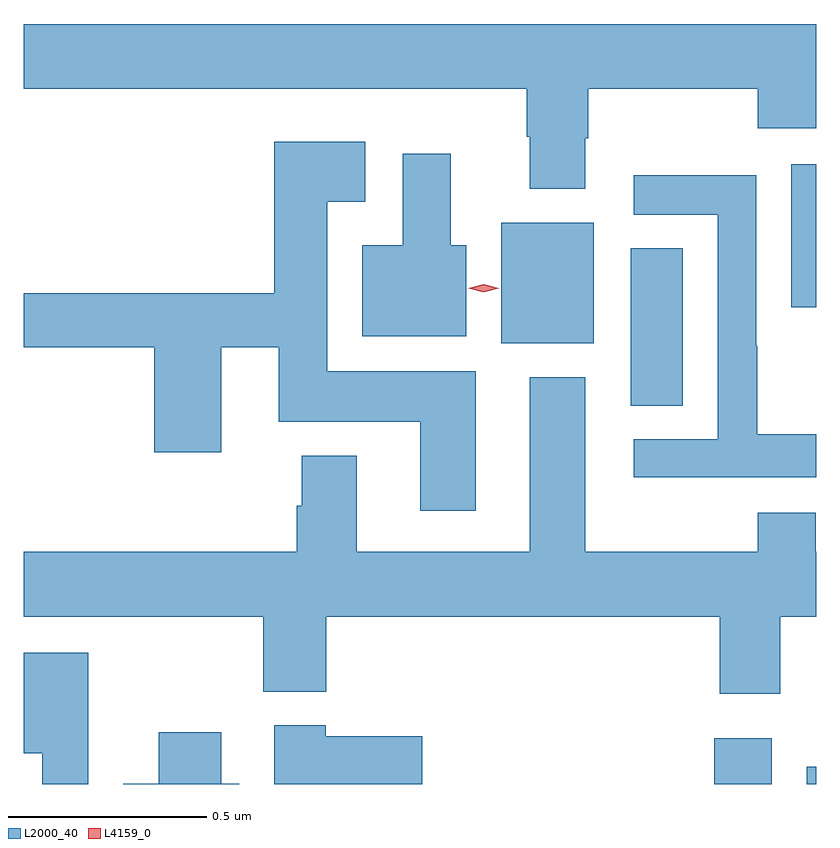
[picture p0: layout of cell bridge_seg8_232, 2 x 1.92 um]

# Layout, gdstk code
import gdstk
lib = gdstk.Library(unit=1e-6, precision=1e-09)
def R(c, l, rs):  # rectangles x0, y0, x1, y1
    for r in rs: c.add(gdstk.rectangle(r[:2], r[2:], *l))
def P(c, l, *ps):  # polygons
    for p in ps: c.add(gdstk.Polygon(p, *l))
L2000_40 = (2000, 40)
L4159_0 = (4159, 0)

bridge_seg8_232 = lib.new_cell('bridge_seg8_232')
R(bridge_seg8_232, L2000_40, [(243.272,1124.07,243.418,1124.185), (243.506,1124.07,243.53,1124.113), (243.062,1125.025,243.193,1125.422), (242.735,1125.182,242.968,1125.487), (243.467,1125.273,243.53,1125.634)])
P(bridge_seg8_232, L2000_40, [(242.947,1125.7),(242.955,1125.7),(242.955,1125.824),(243.382,1125.824),(243.382,1125.725),(243.53,1125.725),(243.53,1125.988),(241.53,1125.988),(241.53,1125.824),(242.8,1125.824),(242.8,1125.704),(242.807,1125.704),(242.807,1125.572),(242.947,1125.572)],
  [(242.671,1125.112),(242.296,1125.112),(242.296,1125.539),(242.392,1125.539),(242.392,1125.691),(242.162,1125.691),(242.162,1125.308),(241.53,1125.308),(241.53,1125.172),(241.859,1125.172),(241.859,1124.907),(242.029,1124.907),(242.029,1125.172),(242.174,1125.172),(242.174,1124.984),(242.531,1124.984),(242.531,1124.76),(242.671,1124.76)],
  [(242.647,1125.43),(242.608,1125.43),(242.608,1125.661),(242.486,1125.661),(242.486,1125.43),(242.384,1125.43),(242.384,1125.2),(242.647,1125.2)],
  [(243.53,1124.953),(243.381,1124.953),(243.381,1125.176),(243.378,1125.176),(243.378,1125.606),(243.069,1125.606),(243.069,1125.507),(243.282,1125.507),(243.282,1124.94),(243.069,1124.94),(243.069,1124.844),(243.53,1124.844)],
  [(243.439,1124.492),(243.53,1124.492),(243.53,1124.656),(243.529,1124.656),(243.529,1124.755),(243.382,1124.755),(243.382,1124.656),(242.947,1124.656),(242.947,1125.097),(242.807,1125.097),(242.807,1124.656),(242.371,1124.656),(242.371,1124.899),(242.231,1124.899),(242.231,1124.772),(242.219,1124.772),(242.219,1124.656),(241.53,1124.656),(241.53,1124.492),(242.134,1124.492),(242.134,1124.303),(242.294,1124.303),(242.294,1124.492),(243.287,1124.492),(243.287,1124.298),(243.439,1124.298)],
  [(241.693,1124.401),(241.53,1124.401),(241.53,1124.147),(241.577,1124.147),(241.577,1124.07),(241.693,1124.07)],
  [(242.536,1124.191),(242.292,1124.191),(242.292,1124.218),(242.162,1124.218),(242.162,1124.07),(242.536,1124.07)],
  [(242.074,1124.071),(242.029,1124.071),(242.029,1124.2),(241.871,1124.2),(241.871,1124.071),(241.781,1124.071),(241.781,1124.07),(242.074,1124.07)])
P(bridge_seg8_232, L4159_0, [(242.691,1125.311),(242.652,1125.321),(242.652,1125.321),(242.652,1125.321),(242.691,1125.331),(242.729,1125.321),(242.73,1125.321),(242.729,1125.321)])

lib.write_gds('bridge_seg8_232.gds')
